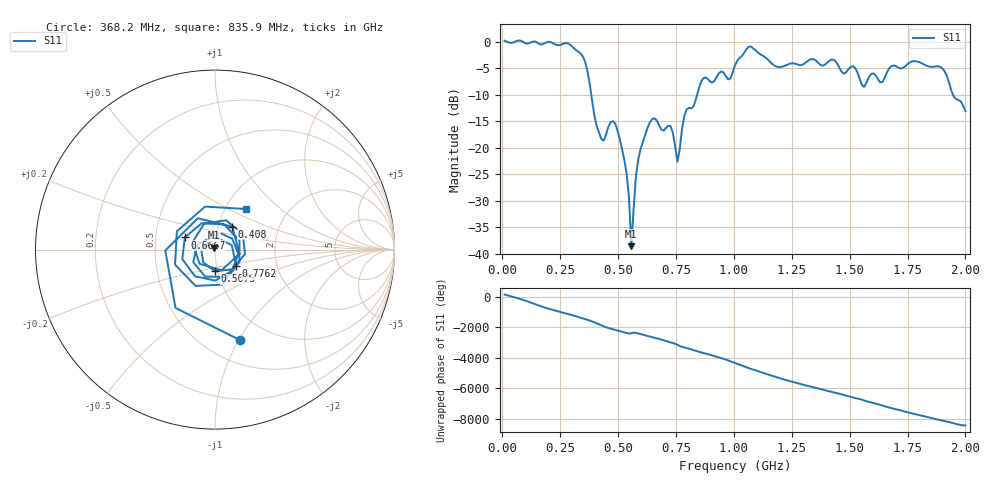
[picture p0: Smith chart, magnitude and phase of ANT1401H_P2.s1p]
!Created with skrf (http://scikit-rf.org).
# Hz S RI R 50.0
!freq ReS11 ImS11
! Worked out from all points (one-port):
!   201 points, 10 MHz to 2 GHz, reference 50 ohm
!   lowest |S11| = -38.5 dB at 557.2 MHz (marker M1), VSWR 1.02, Z = 49.4 + j1 ohm
!   |S11| at or under -10 dB: 384.3 MHz to 841.3 MHz (457 MHz wide, 74.6 % of centre); 1.947 GHz to end of sweep
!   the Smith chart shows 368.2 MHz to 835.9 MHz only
!   S11 on the Smith chart (normalised r, x): 368.2 MHz: 0.73, -1.01; 408 MHz: 1.17, +0.31; 507.5 MHz: 0.97, -0.24; 666.7 MHz: 0.71, +0.10; 776.1 MHz: 1.24, -0.23; 835.9 MHz: 1.25, +0.62
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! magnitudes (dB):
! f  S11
! 10 MHz  0.2
! 258.8 MHz  -0.5
! 368.2 MHz  -5.6
! 408 MHz  -15.9
! 437.9 MHz  -18.7
! 477.6 MHz  -15.0
! 507.5 MHz  -18.4
! 537.4 MHz  -25.0
! 547.3 MHz  -29.5
! 557.2 MHz  -38.5
! 577.1 MHz  -25.4
! 587.1 MHz  -22.2
! 636.9 MHz  -15.3
! 666.7 MHz  -14.8
! 726.4 MHz  -15.9
! 756.2 MHz  -22.6
! 776.1 MHz  -16.5
! 835.9 MHz  -10.9
! 865.7 MHz  -7.0
! 985.1 MHz  -6.9
! 1.005 GHz  -4.5
! 1.075 GHz  -0.9
! 1.254 GHz  -4.1
! 1.502 GHz  -4.8
! 1.562 GHz  -8.5
! 1.751 GHz  -4.2
! 1.901 GHz  -5.0
! 2 GHz  -13.1
